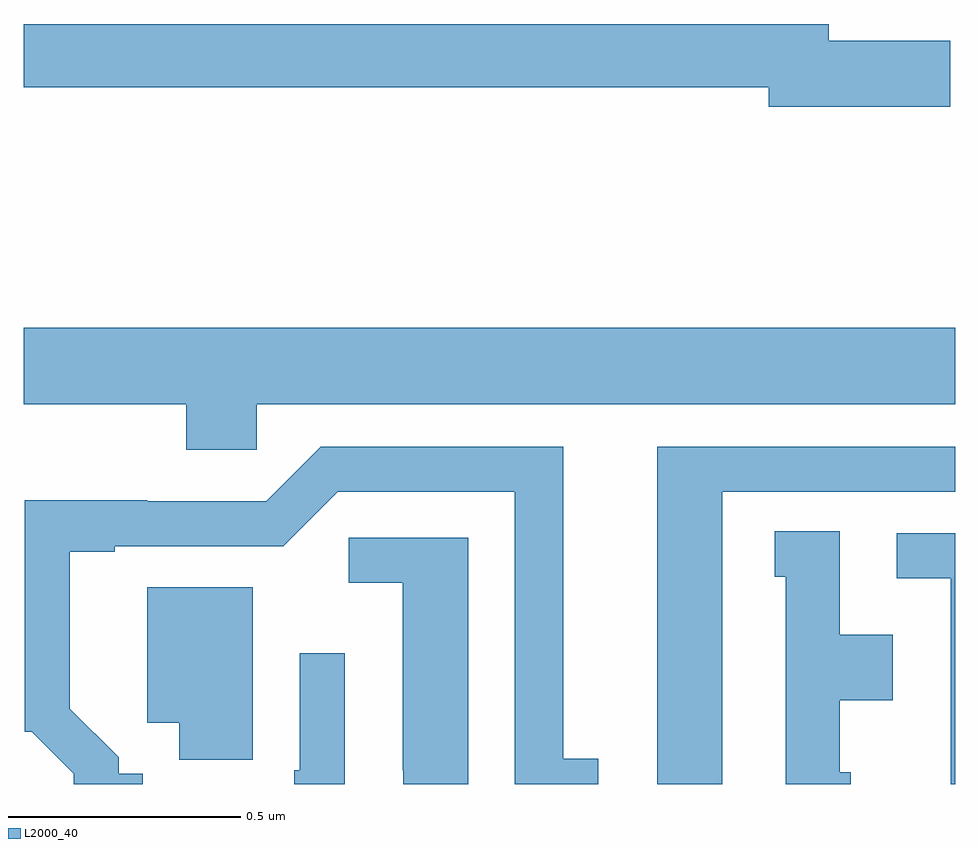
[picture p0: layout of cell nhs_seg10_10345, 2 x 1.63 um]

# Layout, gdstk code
import gdstk
lib = gdstk.Library(unit=1e-6, precision=1e-09)
def P(c, l, *ps):  # polygons
    for p in ps: c.add(gdstk.Polygon(p, *l))
L2000_40 = (2000, 40)

nhs_seg10_10345 = lib.new_cell('nhs_seg10_10345')
P(nhs_seg10_10345, L2000_40, [(242.989,1301.096),(242.728,1301.096),(242.728,1301.132),(241,1301.132),(241,1300.996),(242.6,1300.996),(242.6,1300.954),(242.989,1300.954)],
  [(241.5,1300.316),(243,1300.316),(243,1300.48),(241,1300.48),(241,1300.316),(241.349,1300.316),(241.349,1300.218),(241.5,1300.218)],
  [(241.255,1299.522),(241.204,1299.522),(241.204,1299.557),(241.099,1299.662),(241.099,1299.999),(241.195,1299.999),(241.195,1300.011),(241.557,1300.011),(241.674,1300.128),(242.054,1300.128),(242.054,1299.5),(242.233,1299.5),(242.233,1299.554),(242.158,1299.554),(242.158,1300.224),(241.638,1300.224),(241.521,1300.107),(241.265,1300.107),(241.265,1300.109),(241.002,1300.109),(241.002,1299.612),(241.017,1299.612),(241.107,1299.522),(241.107,1299.5),(241.255,1299.5)],
  [(242.5,1300.128),(243,1300.128),(243,1300.224),(242.36,1300.224),(242.36,1299.5),(242.5,1299.5)],
  [(242.776,1299.525),(242.752,1299.525),(242.752,1299.68),(242.866,1299.68),(242.866,1299.82),(242.752,1299.82),(242.752,1300.043),(242.612,1300.043),(242.612,1299.945),(242.636,1299.945),(242.636,1299.5),(242.776,1299.5)],
  [(243,1300.038),(242.874,1300.038),(242.874,1299.942),(242.99,1299.942),(242.99,1299.5),(243,1299.5)],
  [(241.954,1300.029),(241.698,1300.029),(241.698,1299.932),(241.814,1299.932),(241.814,1299.529),(241.815,1299.529),(241.815,1299.5),(241.954,1299.5)],
  [(241.492,1299.922),(241.265,1299.922),(241.265,1299.632),(241.334,1299.632),(241.334,1299.552),(241.492,1299.552)],
  [(241.689,1299.781),(241.593,1299.781),(241.593,1299.529),(241.581,1299.529),(241.581,1299.5),(241.689,1299.5)])

lib.write_gds('nhs_seg10_10345.gds')
